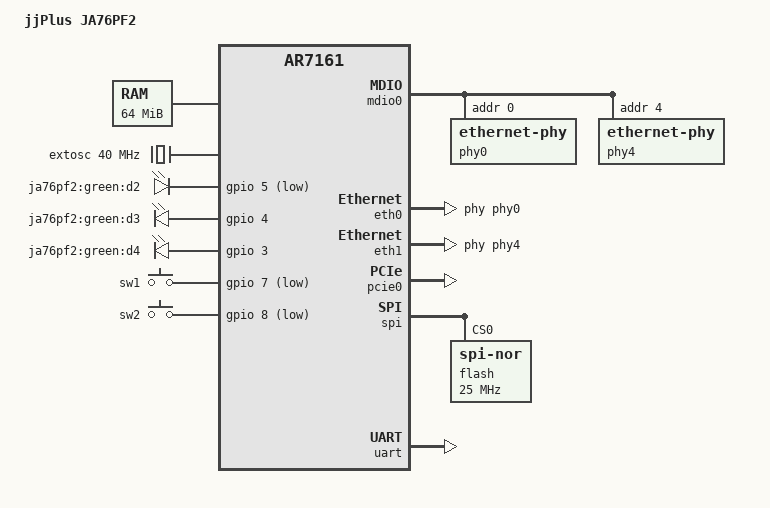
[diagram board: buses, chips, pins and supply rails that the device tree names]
// SPDX-License-Identifier: GPL-2.0-or-later OR MIT

#include "ar7100.dtsi"

#include <dt-bindings/gpio/gpio.h>
#include <dt-bindings/input/input.h>

/ {
	model = "jjPlus JA76PF2";
	compatible = "jjplus,ja76pf2", "qca,ar7161";

	memory@0 {
		device_type = "memory";
		reg = <0x0 0x4000000>;
	};

	chosen {
		bootargs = "console=ttyS0,115200n8";
	};

	aliases {
		led-boot = &led_d2;
		led-failsafe = &led_d2;
		led-running = &led_d2;
		led-upgrade = &led_d2;
	};

	extosc: ref {
		compatible = "fixed-clock";
		#clock-cells = <0>;
		clock-output-names = "ref";
		clock-frequency = <40000000>;
	};

	leds {
		compatible = "gpio-leds";

		led_d2: d2 {
			label = "ja76pf2:green:d2";
			gpios = <&gpio 5 GPIO_ACTIVE_LOW>;
		};

		d3 {
			label = "ja76pf2:green:d3";
			gpios = <&gpio 4 GPIO_ACTIVE_HIGH>;
		};

		d4 {
			label = "ja76pf2:green:d4";
			gpios = <&gpio 3 GPIO_ACTIVE_HIGH>;
		};
	};

	keys {
		compatible = "gpio-keys";

		sw1 {
			label = "sw1";
			linux,code = <KEY_RESTART>;
			gpios = <&gpio 7 GPIO_ACTIVE_LOW>;
			debounce-interval = <60>;
		};

		sw2 {
			label = "sw2";
			linux,code = <KEY_WPS_BUTTON>;
			gpios = <&gpio 8 GPIO_ACTIVE_LOW>;
			debounce-interval = <60>;
		};
	};
};

&mdio0 {
	status = "okay";

	phy-mask = <0x1>;

	phy0: ethernet-phy@0 {
		reg = <0>;
		phy-mode = "rgmii";
	};

	phy4: ethernet-phy@4 {
		reg = <4>;
		phy-mode = "rgmii";
	};
};

&eth0 {
	status = "okay";

	phy-handle = <&phy0>;
};

&eth1 {
	status = "okay";

	phy-handle = <&phy4>;
};

&pcie0 {
	status = "okay";
};

&spi {
	status = "okay";

	num-cs = <1>;

	flash@0 {
		compatible = "jedec,spi-nor";
		reg = <0>;
		spi-max-frequency = <25000000>;

		partitions {
			#address-cells = <1>;
			#size-cells = <1>;
			compatible = "ecoscentric,redboot-fis-partitions";
		};
	};
};

&uart {
	status = "okay";
};
